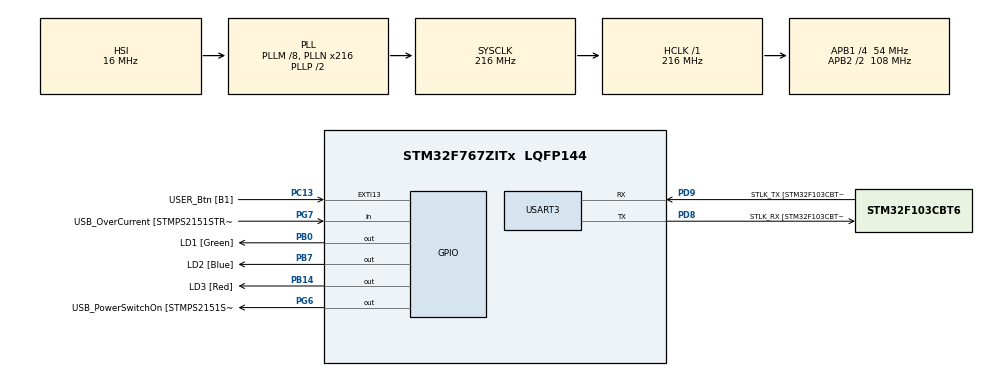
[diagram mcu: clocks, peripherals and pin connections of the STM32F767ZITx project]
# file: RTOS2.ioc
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FREERTOS.Queues01=myQueue01,16,QUEUE_t,0,Dynamic,NULL,NULL;myQueue02,16,QUEUE_t,0,Dynamic,NULL,NULL;myQueue03,16,QUEUE_t,0,Dynamic,NULL,NULL
FREERTOS.Tasks01=defaultTask,0,128,StartDefaultTask,Default,NULL,Dynamic,NULL,NULL;myTask02,-3,128,StartTask02,Default,NULL,Dynamic,NULL,NULL;myTask03,-3,128,StartTask03,Default,NULL,Dynamic,NULL,NULL;myTask04,-3,128,StartTask04,Default,NULL,Dynamic,NULL,NULL
Mcu.Family=STM32F7
Mcu.Name=STM32F767ZITx
Mcu.Package=LQFP144
NVIC.PriorityGroup=NVIC_PRIORITYGROUP_4
NVIC.TIM5_IRQn=true\:15\:0\:false\:false\:true\:false\:false\:true\:true
NVIC.TimeBase=TIM5_IRQn
NVIC.TimeBaseIP=TIM5
NVIC.USART3_IRQn=true\:5\:0\:false\:false\:true\:true\:true\:true\:true
PA1.GPIO_Label=RMII_REF_CLK [LAN8742A-CZ-TR_REFCLK0]
PA1.Signal=ETH_REF_CLK
PA10.GPIO_Label=USB_ID
PA10.Signal=USB_OTG_FS_ID
PA11.GPIO_Label=USB_DM
PA11.Signal=USB_OTG_FS_DM
PA12.GPIO_Label=USB_DP
PA12.Signal=USB_OTG_FS_DP
PA13.GPIO_Label=TMS
PA13.Mode=Serial_Wire
PA13.Signal=SYS_JTMS-SWDIO
PA14.GPIO_Label=TCK
PA14.Mode=Serial_Wire
PA14.Signal=SYS_JTCK-SWCLK
PA2.GPIO_Label=RMII_MDIO [LAN8742A-CZ-TR_MDIO]
PA2.Signal=ETH_MDIO
PA7.GPIO_Label=RMII_CRS_DV [LAN8742A-CZ-TR_CRS_DV]
PA7.Signal=ETH_CRS_DV
PA8.GPIO_Label=USB_SOF [TP1]
PA8.Signal=USB_OTG_FS_SOF
PA9.GPIO_Label=USB_VBUS
PA9.Signal=USB_OTG_FS_VBUS
PB0.GPIO_Label=LD1 [Green]
PB0.Signal=GPIO_Output
PB13.GPIO_Label=RMII_TXD1 [LAN8742A-CZ-TR_TXD1]
PB13.Signal=ETH_TXD1
PB14.GPIO_Label=LD3 [Red]
PB14.Signal=GPIO_Output
PB3.GPIO_Label=SW0
PB3.Signal=SYS_JTDO-SWO
PB7.GPIO_Label=LD2 [Blue]
PB7.Signal=GPIO_Output
PC1.GPIO_Label=RMII_MDC [LAN8742A-CZ-TR_MDC]
PC1.Signal=ETH_MDC
PC13.GPIO_Label=USER_Btn [B1]
PC13.Signal=GPXTI13
PC14/OSC32_IN.Signal=RCC_OSC32_IN
PC15/OSC32_OUT.Signal=RCC_OSC32_OUT
PC4.GPIO_Label=RMII_RXD0 [LAN8742A-CZ-TR_RXD0]
PC4.Signal=ETH_RXD0
PC5.GPIO_Label=RMII_RXD1 [LAN8742A-CZ-TR_RXD1]
PC5.Signal=ETH_RXD1
PD8.GPIO_Label=STLK_RX [STM32F103CBT6_PA3]
PD8.Mode=Asynchronous
PD8.Signal=USART3_TX
PD9.GPIO_Label=STLK_TX [STM32F103CBT6_PA2]
PD9.Mode=Asynchronous
PD9.Signal=USART3_RX
PG11.GPIO_Label=RMII_TX_EN [LAN8742A-CZ-TR_TXEN]
PG11.Signal=ETH_TX_EN
PG13.GPIO_Label=RMII_TXD0 [LAN8742A-CZ-TR_TXD0]
PG13.Signal=ETH_TXD0
PG6.GPIO_Label=USB_PowerSwitchOn [STMPS2151STR_EN]
PG6.Signal=GPIO_Output
PG7.GPIO_Label=USB_OverCurrent [STMPS2151STR_FAULT]
PG7.Signal=GPIO_Input
PH0/OSC_IN.GPIO_Label=MCO [STM32F103CBT6_PA8]
PH0/OSC_IN.Signal=RCC_OSC_IN
PH1/OSC_OUT.Signal=RCC_OSC_OUT
ProjectManager.HeapSize=0x200
ProjectManager.StackSize=0x400
ProjectManager.TargetToolchain=STM32CubeIDE
RCC.48MHZClocksFreq_Value=24000000
RCC.AHBFreq_Value=216000000
RCC.APB1CLKDivider=RCC_HCLK_DIV4
RCC.APB1Freq_Value=54000000
RCC.APB1TimFreq_Value=108000000
RCC.APB2CLKDivider=RCC_HCLK_DIV2
RCC.APB2Freq_Value=108000000
RCC.APB2TimFreq_Value=216000000
RCC.CortexFreq_Value=216000000
RCC.HCLKFreq_Value=216000000
RCC.HSE_VALUE=16000000
RCC.HSI_VALUE=16000000
RCC.LSE_VALUE=32768
RCC.PLLM=8
RCC.PLLMUL=RCC_PLL_MUL9
RCC.PLLN=216
RCC.PRESCALERUSB=RCC_USBCLKSOURCE_PLL_DIV1_5
RCC.SYSCLKFreq_VALUE=216000000
RCC.SYSCLKSource=RCC_SYSCLKSOURCE_PLLCLK
RCC.SYSCLKSourceVirtual=RCC_SYSCLKSOURCE_PLLCLK
RCC.UART5Enable-ClockTree=true
RCC.USBFreq_Value=216000000
RCC.VCOOutputFreq_Value=432000000
USART3.VirtualMode-Asynchronous=VM_ASYNC
VP_FREERTOS_VS_CMSIS_V1.Mode=CMSIS_V1
VP_SYS_VS_tim5.Mode=TIM5
board=NUCLEO-F767ZI

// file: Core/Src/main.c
/* USER CODE BEGIN Header */
/**
  ******************************************************************************
  * @file           : main.c
  * @brief          : Main program body
  ******************************************************************************
  * @attention
  *
  * Copyright (c) 2022 STMicroelectronics.
  * All rights reserved.
  *
  * This software is licensed under terms that can be found in the LICENSE file
  * in the root directory of this software component.
  * If no LICENSE file comes with this software, it is provided AS-IS.
  *
  ******************************************************************************
  */
/* USER CODE END Header */
#include "main.h"
#include "cmsis_os.h"

/* USER CODE BEGIN Includes */
#include <string.h>
#include <ctype.h>
/* USER CODE END Includes */

/* USER CODE BEGIN PTD */
typedef struct{
	uint8_t QUEUE_buf[5];
}QUEUE_t;
/* USER CODE END PTD */

UART_HandleTypeDef huart3;

osThreadId defaultTaskHandle;
osThreadId myTask02Handle;
osThreadId myTask03Handle;
osThreadId myTask04Handle;
osMessageQId myQueue01Handle;
osMessageQId myQueue02Handle;
osMessageQId myQueue03Handle;

void SystemClock_Config(void);
static void MX_GPIO_Init(void);
static void MX_USART3_UART_Init(void);
void StartDefaultTask(void const * argument);
void StartTask02(void const * argument);
void StartTask03(void const * argument);
void StartTask04(void const * argument);

/* USER CODE BEGIN PFP */
QUEUE_t packet_data;
/* USER CODE END PFP */

int main(void)
{

  /* MCU Configuration--------------------------------------------------------*/

  /* Reset of all peripherals, Initializes the Flash interface and the Systick. */
  HAL_Init();

  /* Configure the system clock */
  SystemClock_Config();

  /* Initialize all configured peripherals */
  MX_GPIO_Init();
  MX_USART3_UART_Init();

  /* Create the queue(s) */
  /* definition and creation of myQueue01 */
  osMessageQDef(myQueue01, 16, QUEUE_t);
  myQueue01Handle = osMessageCreate(osMessageQ(myQueue01), NULL);

  /* definition and creation of myQueue02 */
  osMessageQDef(myQueue02, 16, QUEUE_t);
  myQueue02Handle = osMessageCreate(osMessageQ(myQueue02), NULL);

  /* definition and creation of myQueue03 */
  osMessageQDef(myQueue03, 16, QUEUE_t);
  myQueue03Handle = osMessageCreate(osMessageQ(myQueue03), NULL);

  /* Create the thread(s) */
  /* definition and creation of defaultTask */
  osThreadDef(defaultTask, StartDefaultTask, osPriorityNormal, 0, 128);
  defaultTaskHandle = osThreadCreate(osThread(defaultTask), NULL);

  /* definition and creation of myTask02 */
  osThreadDef(myTask02, StartTask02, osPriorityIdle, 0, 128);
  myTask02Handle = osThreadCreate(osThread(myTask02), NULL);

  /* definition and creation of myTask03 */
  osThreadDef(myTask03, StartTask03, osPriorityIdle, 0, 128);
  myTask03Handle = osThreadCreate(osThread(myTask03), NULL);

  /* definition and creation of myTask04 */
  osThreadDef(myTask04, StartTask04, osPriorityIdle, 0, 128);
  myTask04Handle = osThreadCreate(osThread(myTask04), NULL);

  /* Start scheduler */
  osKernelStart();

  /* We should never get here as control is now taken by the scheduler */
  /* Infinite loop */
  while (1)
  {

  }
}

void SystemClock_Config(void)
{
  RCC_OscInitTypeDef RCC_OscInitStruct = {0};
  RCC_ClkInitTypeDef RCC_ClkInitStruct = {0};

  /** Configure the main internal regulator output voltage
  */
  __HAL_RCC_PWR_CLK_ENABLE();
  __HAL_PWR_VOLTAGESCALING_CONFIG(PWR_REGULATOR_VOLTAGE_SCALE1);

  /** Initializes the RCC Oscillators according to the specified parameters
  * in the RCC_OscInitTypeDef structure.
  */
  RCC_OscInitStruct.OscillatorType = RCC_OSCILLATORTYPE_HSI;
  RCC_OscInitStruct.HSIState = RCC_HSI_ON;
  RCC_OscInitStruct.HSICalibrationValue = RCC_HSICALIBRATION_DEFAULT;
  RCC_OscInitStruct.PLL.PLLState = RCC_PLL_ON;
  RCC_OscInitStruct.PLL.PLLSource = RCC_PLLSOURCE_HSI;
  RCC_OscInitStruct.PLL.PLLM = 8;
  RCC_OscInitStruct.PLL.PLLN = 216;
  RCC_OscInitStruct.PLL.PLLP = RCC_PLLP_DIV2;
  RCC_OscInitStruct.PLL.PLLQ = 2;
  RCC_OscInitStruct.PLL.PLLR = 2;
  if (HAL_RCC_OscConfig(&RCC_OscInitStruct) != HAL_OK)
  {
    Error_Handler();
  }

  /** Activate the Over-Drive mode
  */
  if (HAL_PWREx_EnableOverDrive() != HAL_OK)
  {
    Error_Handler();
  }

  /** Initializes the CPU, AHB and APB buses clocks
  */
  RCC_ClkInitStruct.ClockType = RCC_CLOCKTYPE_HCLK|RCC_CLOCKTYPE_SYSCLK
                              |RCC_CLOCKTYPE_PCLK1|RCC_CLOCKTYPE_PCLK2;
  RCC_ClkInitStruct.SYSCLKSource = RCC_SYSCLKSOURCE_PLLCLK;
  RCC_ClkInitStruct.AHBCLKDivider = RCC_SYSCLK_DIV1;
  RCC_ClkInitStruct.APB1CLKDivider = RCC_HCLK_DIV4;
  RCC_ClkInitStruct.APB2CLKDivider = RCC_HCLK_DIV2;

  if (HAL_RCC_ClockConfig(&RCC_ClkInitStruct, FLASH_LATENCY_7) != HAL_OK)
  {
    Error_Handler();
  }
}

static void MX_USART3_UART_Init(void)
{

  huart3.Instance = USART3;
  huart3.Init.BaudRate = 115200;
  huart3.Init.WordLength = UART_WORDLENGTH_8B;
  huart3.Init.StopBits = UART_STOPBITS_1;
  huart3.Init.Parity = UART_PARITY_NONE;
  huart3.Init.Mode = UART_MODE_TX_RX;
  huart3.Init.HwFlowCtl = UART_HWCONTROL_NONE;
  huart3.Init.OverSampling = UART_OVERSAMPLING_16;
  huart3.Init.OneBitSampling = UART_ONE_BIT_SAMPLE_DISABLE;
  huart3.AdvancedInit.AdvFeatureInit = UART_ADVFEATURE_NO_INIT;
  if (HAL_UART_Init(&huart3) != HAL_OK)
  {
    Error_Handler();
  }

}

static void MX_GPIO_Init(void)
{
  GPIO_InitTypeDef GPIO_InitStruct = {0};

  /* GPIO Ports Clock Enable */
  __HAL_RCC_GPIOC_CLK_ENABLE();
  __HAL_RCC_GPIOH_CLK_ENABLE();
  __HAL_RCC_GPIOA_CLK_ENABLE();
  __HAL_RCC_GPIOB_CLK_ENABLE();
  __HAL_RCC_GPIOD_CLK_ENABLE();
  __HAL_RCC_GPIOG_CLK_ENABLE();

  /*Configure GPIO pin Output Level */
  HAL_GPIO_WritePin(GPIOB, LD1_Pin|LD3_Pin|LD2_Pin, GPIO_PIN_RESET);

  /*Configure GPIO pin Output Level */
  HAL_GPIO_WritePin(USB_PowerSwitchOn_GPIO_Port, USB_PowerSwitchOn_Pin, GPIO_PIN_RESET);

  /*Configure GPIO pin : USER_Btn_Pin */
  GPIO_InitStruct.Pin = USER_Btn_Pin;
  GPIO_InitStruct.Mode = GPIO_MODE_IT_RISING;
  GPIO_InitStruct.Pull = GPIO_NOPULL;
  HAL_GPIO_Init(USER_Btn_GPIO_Port, &GPIO_InitStruct);

  /*Configure GPIO pins : RMII_MDC_Pin RMII_RXD0_Pin RMII_RXD1_Pin */
  GPIO_InitStruct.Pin = RMII_MDC_Pin|RMII_RXD0_Pin|RMII_RXD1_Pin;
  GPIO_InitStruct.Mode = GPIO_MODE_AF_PP;
  GPIO_InitStruct.Pull = GPIO_NOPULL;
  GPIO_InitStruct.Speed = GPIO_SPEED_FREQ_VERY_HIGH;
  GPIO_InitStruct.Alternate = GPIO_AF11_ETH;
  HAL_GPIO_Init(GPIOC, &GPIO_InitStruct);

  /*Configure GPIO pins : RMII_REF_CLK_Pin RMII_MDIO_Pin RMII_CRS_DV_Pin */
  GPIO_InitStruct.Pin = RMII_REF_CLK_Pin|RMII_MDIO_Pin|RMII_CRS_DV_Pin;
  GPIO_InitStruct.Mode = GPIO_MODE_AF_PP;
  GPIO_InitStruct.Pull = GPIO_NOPULL;
  GPIO_InitStruct.Speed = GPIO_SPEED_FREQ_VERY_HIGH;
  GPIO_InitStruct.Alternate = GPIO_AF11_ETH;
  HAL_GPIO_Init(GPIOA, &GPIO_InitStruct);

  /*Configure GPIO pins : LD1_Pin LD3_Pin LD2_Pin */
  GPIO_InitStruct.Pin = LD1_Pin|LD3_Pin|LD2_Pin;
  GPIO_InitStruct.Mode = GPIO_MODE_OUTPUT_PP;
  GPIO_InitStruct.Pull = GPIO_NOPULL;
  GPIO_InitStruct.Speed = GPIO_SPEED_FREQ_LOW;
  HAL_GPIO_Init(GPIOB, &GPIO_InitStruct);

  /*Configure GPIO pin : RMII_TXD1_Pin */
  GPIO_InitStruct.Pin = RMII_TXD1_Pin;
  GPIO_InitStruct.Mode = GPIO_MODE_AF_PP;
  GPIO_InitStruct.Pull = GPIO_NOPULL;
  GPIO_InitStruct.Speed = GPIO_SPEED_FREQ_VERY_HIGH;
  GPIO_InitStruct.Alternate = GPIO_AF11_ETH;
  HAL_GPIO_Init(RMII_TXD1_GPIO_Port, &GPIO_InitStruct);

  /*Configure GPIO pin : USB_PowerSwitchOn_Pin */
  GPIO_InitStruct.Pin = USB_PowerSwitchOn_Pin;
  GPIO_InitStruct.Mode = GPIO_MODE_OUTPUT_PP;
  GPIO_InitStruct.Pull = GPIO_NOPULL;
  GPIO_InitStruct.Speed = GPIO_SPEED_FREQ_LOW;
  HAL_GPIO_Init(USB_PowerSwitchOn_GPIO_Port, &GPIO_InitStruct);

  /*Configure GPIO pin : USB_OverCurrent_Pin */
  GPIO_InitStruct.Pin = USB_OverCurrent_Pin;
  GPIO_InitStruct.Mode = GPIO_MODE_INPUT;
  GPIO_InitStruct.Pull = GPIO_NOPULL;
  HAL_GPIO_Init(USB_OverCurrent_GPIO_Port, &GPIO_InitStruct);

  /*Configure GPIO pins : USB_SOF_Pin USB_ID_Pin USB_DM_Pin USB_DP_Pin */
  GPIO_InitStruct.Pin = USB_SOF_Pin|USB_ID_Pin|USB_DM_Pin|USB_DP_Pin;
  GPIO_InitStruct.Mode = GPIO_MODE_AF_PP;
  GPIO_InitStruct.Pull = GPIO_NOPULL;
  GPIO_InitStruct.Speed = GPIO_SPEED_FREQ_VERY_HIGH;
  GPIO_InitStruct.Alternate = GPIO_AF10_OTG_FS;
  HAL_GPIO_Init(GPIOA, &GPIO_InitStruct);

  /*Configure GPIO pin : USB_VBUS_Pin */
  GPIO_InitStruct.Pin = USB_VBUS_Pin;
  GPIO_InitStruct.Mode = GPIO_MODE_INPUT;
  GPIO_InitStruct.Pull = GPIO_NOPULL;
  HAL_GPIO_Init(USB_VBUS_GPIO_Port, &GPIO_InitStruct);

  /*Configure GPIO pins : RMII_TX_EN_Pin RMII_TXD0_Pin */
  GPIO_InitStruct.Pin = RMII_TX_EN_Pin|RMII_TXD0_Pin;
  GPIO_InitStruct.Mode = GPIO_MODE_AF_PP;
  GPIO_InitStruct.Pull = GPIO_NOPULL;
  GPIO_InitStruct.Speed = GPIO_SPEED_FREQ_VERY_HIGH;
  GPIO_InitStruct.Alternate = GPIO_AF11_ETH;
  HAL_GPIO_Init(GPIOG, &GPIO_InitStruct);

}

/* USER CODE BEGIN 4 */
void HAL_UART_RxCpltCallback(UART_HandleTypeDef *huart){

	if(huart == &huart3){
		BaseType_t xHigherPriorityTaskWoken = pdFALSE;
		if(packet_data.QUEUE_buf[0] == '1'){
			xQueueSendFromISR(myQueue01Handle, (packet_data.QUEUE_buf + 1), &xHigherPriorityTaskWoken);
		}
		else if(packet_data.QUEUE_buf[0] == '2'){
			xQueueSendFromISR(myQueue02Handle, (packet_data.QUEUE_buf + 1), &xHigherPriorityTaskWoken);
		}
		else if(packet_data.QUEUE_buf[0] == '3'){
			xQueueSendFromISR(myQueue03Handle, (packet_data.QUEUE_buf + 1), &xHigherPriorityTaskWoken);
		}
	}
}

/* USER CODE END 4 */

void StartDefaultTask(void const * argument)
{
  /* USER CODE BEGIN 5 */
	BaseType_t xTaskWokenByReceive = pdFALSE;
	uint8_t TX_buf[4];
  /* Infinite loop */
  for(;;)
  {
	  if(xQueueReceiveFromISR(myQueue01Handle, TX_buf, &xTaskWokenByReceive)){
		  HAL_UART_Transmit_IT(&huart3, TX_buf, 4);
	  }
    osDelay(1);
  }
  /* USER CODE END 5 */
}

void StartTask02(void const * argument)
{
  /* USER CODE BEGIN StartTask02 */
  /* Infinite loop */
  for(;;)
  {
	HAL_UART_Receive_IT(&huart3, packet_data.QUEUE_buf, 5);
    osDelay(1);
  }
  /* USER CODE END StartTask02 */
}

void StartTask03(void const * argument)
{
  /* USER CODE BEGIN StartTask03 */
	BaseType_t xTaskWokenByReceive = pdFALSE;
	uint8_t TX_buf[4];
  /* Infinite loop */
  for(;;)
  {
	  if(xQueueReceiveFromISR(myQueue02Handle, TX_buf, &xTaskWokenByReceive)){
		  for(int i = 0; i < 4; i++){
			  TX_buf[i] = toupper(TX_buf[i]);
		  }
		  HAL_UART_Transmit_IT(&huart3, TX_buf, 4);
	  }
    osDelay(1);
  }
  /* USER CODE END StartTask03 */
}

void StartTask04(void const * argument)
{
  /* USER CODE BEGIN StartTask04 */
	BaseType_t xTaskWokenByReceive = pdFALSE;
	uint8_t TX_buf[4];
  /* Infinite loop */
  for(;;)
  {
	  if(xQueueReceiveFromISR(myQueue03Handle, TX_buf, &xTaskWokenByReceive)){
		  for(int i = 0; i < 4; i++){
			  TX_buf[i] = tolower(TX_buf[i]);
		  }
		  HAL_UART_Transmit_IT(&huart3, TX_buf, 4);
	  }
    osDelay(1);
  }
  /* USER CODE END StartTask04 */
}

void HAL_TIM_PeriodElapsedCallback(TIM_HandleTypeDef *htim)
{
  if (htim->Instance == TIM5) {
    HAL_IncTick();
  }
}

void Error_Handler(void)
{
  __disable_irq();
  while (1)
  {
  }
}
